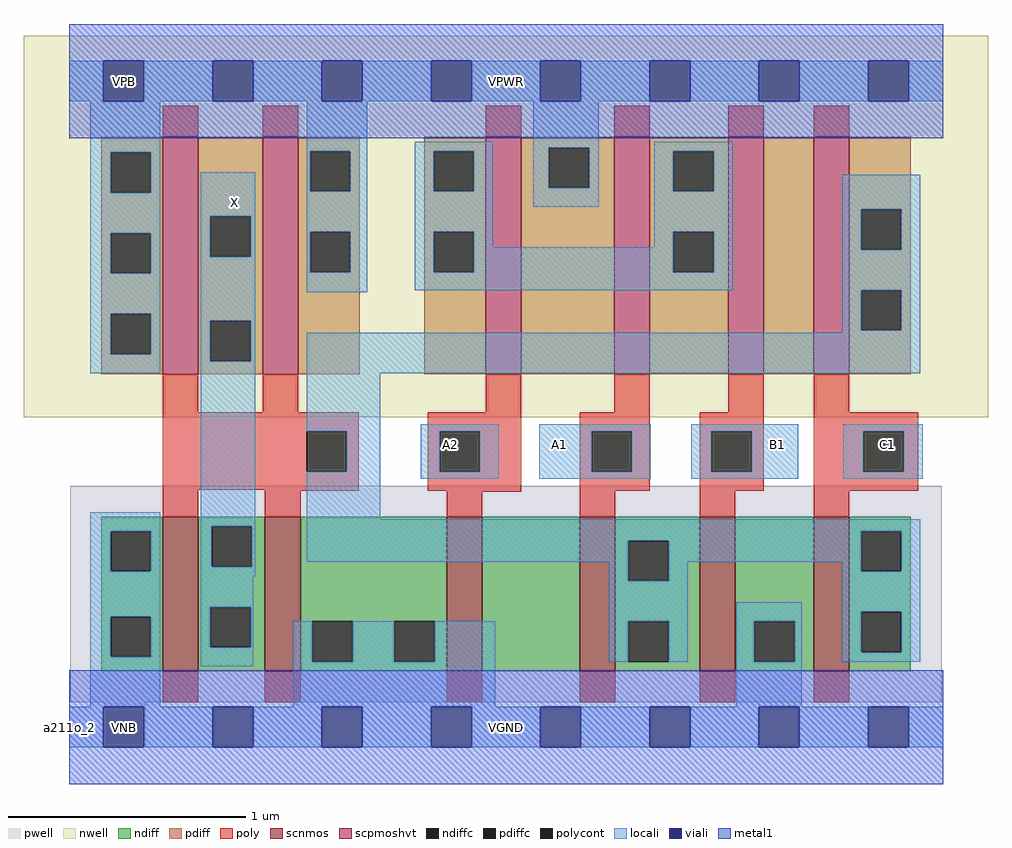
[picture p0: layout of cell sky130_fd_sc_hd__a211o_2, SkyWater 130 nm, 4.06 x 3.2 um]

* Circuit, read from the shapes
.subckt sky130_fd_sc_hd__a211o_2 A1 A2 B1 C1 VGND VNB VPB VPWR X
XM1 X n1 VGND VNB sky130_fd_pr__nfet_01v8 w=0.65 l=0.15 m=2
XM2 n2 A2 VGND VNB sky130_fd_pr__nfet_01v8 w=0.65 l=0.15
XM3 n1 A1 n2 VNB sky130_fd_pr__nfet_01v8 w=0.65 l=0.15
XM4 VGND B1 n1 VNB sky130_fd_pr__nfet_01v8 w=0.65 l=0.15
XM5 n1 C1 VGND VNB sky130_fd_pr__nfet_01v8 w=0.65 l=0.15
XM6 X n1 VPWR VPB sky130_fd_pr__pfet_01v8_hvt w=1 l=0.15 m=2
XM7 VPWR A2 n3 VPB sky130_fd_pr__pfet_01v8_hvt w=1 l=0.15
XM8 n3 A1 VPWR VPB sky130_fd_pr__pfet_01v8_hvt w=1 l=0.15
XM9 n4 B1 n3 VPB sky130_fd_pr__pfet_01v8_hvt w=1 l=0.15
XM10 n1 C1 n4 VPB sky130_fd_pr__pfet_01v8_hvt w=1 l=0.15
.ends

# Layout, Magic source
magic
tech sky130B
magscale 1 2
<< nwell >>
rect -38 261 774 582
<< pwell >>
rect 1 21 735 203
rect 30 -17 64 21
<< scnmos >>
rect 79 47 109 177
rect 165 47 195 177
rect 318 47 348 177
rect 430 47 460 177
rect 531 47 561 177
rect 627 47 657 177
<< scpmoshvt >>
rect 79 297 109 497
rect 163 297 193 497
rect 351 297 381 497
rect 459 297 489 497
rect 555 297 585 497
rect 627 297 657 497
<< ndiff >>
rect 27 165 79 177
rect 27 131 35 165
rect 69 131 79 165
rect 27 93 79 131
rect 27 59 35 93
rect 69 59 79 93
rect 27 47 79 59
rect 109 169 165 177
rect 109 135 120 169
rect 154 135 165 169
rect 109 101 165 135
rect 109 67 119 101
rect 153 67 165 101
rect 109 47 165 67
rect 195 89 318 177
rect 195 55 205 89
rect 239 55 274 89
rect 308 55 318 89
rect 195 47 318 55
rect 348 47 430 177
rect 460 157 531 177
rect 460 123 471 157
rect 505 123 531 157
rect 460 89 531 123
rect 460 55 471 89
rect 505 55 531 89
rect 460 47 531 55
rect 561 89 627 177
rect 561 55 577 89
rect 611 55 627 89
rect 561 47 627 55
rect 657 165 709 177
rect 657 131 667 165
rect 701 131 709 165
rect 657 97 709 131
rect 657 63 667 97
rect 701 63 709 97
rect 657 47 709 63
<< pdiff >>
rect 27 484 79 497
rect 27 450 35 484
rect 69 450 79 484
rect 27 416 79 450
rect 27 382 35 416
rect 69 382 79 416
rect 27 348 79 382
rect 27 314 35 348
rect 69 314 79 348
rect 27 297 79 314
rect 109 430 163 497
rect 109 396 119 430
rect 153 396 163 430
rect 109 342 163 396
rect 109 308 119 342
rect 153 308 163 342
rect 109 297 163 308
rect 193 485 245 497
rect 193 451 203 485
rect 237 451 245 485
rect 193 417 245 451
rect 193 383 203 417
rect 237 383 245 417
rect 193 297 245 383
rect 299 485 351 497
rect 299 451 307 485
rect 341 451 351 485
rect 299 417 351 451
rect 299 383 307 417
rect 341 383 351 417
rect 299 297 351 383
rect 381 488 459 497
rect 381 454 404 488
rect 438 454 459 488
rect 381 297 459 454
rect 489 485 555 497
rect 489 451 509 485
rect 543 451 555 485
rect 489 417 555 451
rect 489 383 509 417
rect 543 383 555 417
rect 489 297 555 383
rect 585 297 627 497
rect 657 436 709 497
rect 657 402 667 436
rect 701 402 709 436
rect 657 368 709 402
rect 657 334 667 368
rect 701 334 709 368
rect 657 297 709 334
<< ndiffc >>
rect 35 131 69 165
rect 35 59 69 93
rect 120 135 154 169
rect 119 67 153 101
rect 205 55 239 89
rect 274 55 308 89
rect 471 123 505 157
rect 471 55 505 89
rect 577 55 611 89
rect 667 131 701 165
rect 667 63 701 97
<< pdiffc >>
rect 35 450 69 484
rect 35 382 69 416
rect 35 314 69 348
rect 119 396 153 430
rect 119 308 153 342
rect 203 451 237 485
rect 203 383 237 417
rect 307 451 341 485
rect 307 383 341 417
rect 404 454 438 488
rect 509 451 543 485
rect 509 383 543 417
rect 667 402 701 436
rect 667 334 701 368
<< poly >>
rect 79 497 109 523
rect 163 497 193 523
rect 351 497 381 523
rect 459 497 489 523
rect 555 497 585 523
rect 627 497 657 523
rect 79 265 109 297
rect 163 265 193 297
rect 351 265 381 297
rect 459 265 489 297
rect 555 265 585 297
rect 79 249 244 265
rect 79 215 200 249
rect 234 215 244 249
rect 79 200 244 215
rect 79 177 109 200
rect 165 199 244 200
rect 302 249 381 265
rect 302 215 312 249
rect 346 215 381 249
rect 302 199 381 215
rect 165 177 195 199
rect 318 198 381 199
rect 430 249 489 265
rect 430 215 440 249
rect 474 215 489 249
rect 430 199 489 215
rect 531 249 585 265
rect 531 215 541 249
rect 575 215 585 249
rect 531 199 585 215
rect 627 265 657 297
rect 627 249 715 265
rect 627 215 669 249
rect 703 215 715 249
rect 627 199 715 215
rect 318 177 348 198
rect 430 177 460 199
rect 531 177 561 199
rect 627 177 657 199
rect 79 21 109 47
rect 165 21 195 47
rect 318 21 348 47
rect 430 21 460 47
rect 531 21 561 47
rect 627 21 657 47
<< polycont >>
rect 200 215 234 249
rect 312 215 346 249
rect 440 215 474 249
rect 541 215 575 249
rect 669 215 703 249
<< locali >>
rect 0 527 29 561
rect 63 527 121 561
rect 155 527 213 561
rect 247 527 305 561
rect 339 527 397 561
rect 431 527 489 561
rect 523 527 581 561
rect 615 527 673 561
rect 707 527 736 561
rect 18 484 77 527
rect 18 450 35 484
rect 69 450 77 484
rect 200 485 251 527
rect 18 416 77 450
rect 18 382 35 416
rect 69 382 77 416
rect 18 348 77 382
rect 18 314 35 348
rect 69 314 77 348
rect 18 298 77 314
rect 111 430 157 467
rect 111 396 119 430
rect 153 396 157 430
rect 111 342 157 396
rect 200 451 203 485
rect 237 451 251 485
rect 200 417 251 451
rect 200 383 203 417
rect 237 383 251 417
rect 200 366 251 383
rect 291 485 357 493
rect 291 451 307 485
rect 341 451 357 485
rect 291 417 357 451
rect 391 488 446 527
rect 391 454 404 488
rect 438 454 446 488
rect 391 438 446 454
rect 493 485 559 493
rect 493 451 509 485
rect 543 451 559 485
rect 291 383 307 417
rect 341 404 357 417
rect 493 417 559 451
rect 493 404 509 417
rect 341 383 509 404
rect 543 383 559 417
rect 291 368 559 383
rect 651 436 717 465
rect 651 402 667 436
rect 701 402 717 436
rect 651 368 717 402
rect 111 308 119 342
rect 153 308 157 342
rect 651 334 667 368
rect 701 334 717 368
rect 651 332 717 334
rect 18 165 77 181
rect 18 131 35 165
rect 69 131 77 165
rect 18 93 77 131
rect 18 59 35 93
rect 69 59 77 93
rect 18 17 77 59
rect 111 169 157 308
rect 111 135 120 169
rect 154 135 157 169
rect 200 298 717 332
rect 200 249 262 298
rect 234 215 262 249
rect 200 175 262 215
rect 296 249 362 255
rect 296 215 312 249
rect 346 215 362 249
rect 296 209 362 215
rect 396 249 490 255
rect 396 215 440 249
rect 474 215 490 249
rect 396 209 490 215
rect 524 249 614 255
rect 524 215 541 249
rect 575 215 614 249
rect 524 209 614 215
rect 652 249 719 255
rect 652 215 669 249
rect 703 215 719 249
rect 652 209 719 215
rect 200 165 717 175
rect 200 157 667 165
rect 200 139 471 157
rect 111 127 157 135
rect 111 101 155 127
rect 111 67 119 101
rect 153 67 155 101
rect 455 123 471 139
rect 505 139 667 157
rect 505 123 521 139
rect 455 89 521 123
rect 651 131 667 139
rect 701 131 717 165
rect 111 51 155 67
rect 189 55 205 89
rect 239 55 274 89
rect 308 55 359 89
rect 455 55 471 89
rect 505 55 521 89
rect 562 89 617 105
rect 562 55 577 89
rect 611 55 617 89
rect 651 97 717 131
rect 651 63 667 97
rect 701 63 717 97
rect 651 55 717 63
rect 189 17 359 55
rect 562 17 617 55
rect 0 -17 29 17
rect 63 -17 121 17
rect 155 -17 213 17
rect 247 -17 305 17
rect 339 -17 397 17
rect 431 -17 489 17
rect 523 -17 581 17
rect 615 -17 673 17
rect 707 -17 736 17
<< viali >>
rect 29 527 63 561
rect 121 527 155 561
rect 213 527 247 561
rect 305 527 339 561
rect 397 527 431 561
rect 489 527 523 561
rect 581 527 615 561
rect 673 527 707 561
rect 29 -17 63 17
rect 121 -17 155 17
rect 213 -17 247 17
rect 305 -17 339 17
rect 397 -17 431 17
rect 489 -17 523 17
rect 581 -17 615 17
rect 673 -17 707 17
<< metal1 >>
rect 0 561 736 592
rect 0 527 29 561
rect 63 527 121 561
rect 155 527 213 561
rect 247 527 305 561
rect 339 527 397 561
rect 431 527 489 561
rect 523 527 581 561
rect 615 527 673 561
rect 707 527 736 561
rect 0 496 736 527
rect 0 17 736 48
rect 0 -17 29 17
rect 63 -17 121 17
rect 155 -17 213 17
rect 247 -17 305 17
rect 339 -17 397 17
rect 431 -17 489 17
rect 523 -17 581 17
rect 615 -17 673 17
rect 707 -17 736 17
rect 0 -48 736 -17
<< labels >>
flabel locali s 122 425 156 459 0 FreeSans 400 0 0 0 X
port 9 nsew signal output
flabel locali s 304 221 338 255 0 FreeSans 400 0 0 0 A2
port 2 nsew signal input
flabel locali s 396 221 430 255 0 FreeSans 400 0 0 0 A1
port 1 nsew signal input
flabel locali s 580 221 614 255 0 FreeSans 400 0 0 0 B1
port 3 nsew signal input
flabel locali s 672 221 706 255 0 FreeSans 400 0 0 0 C1
port 4 nsew signal input
flabel pwell s 30 -17 64 17 0 FreeSans 200 0 0 0 VNB
port 6 nsew ground bidirectional
flabel nwell s 30 527 64 561 0 FreeSans 200 0 0 0 VPB
port 7 nsew power bidirectional
flabel metal1 s 30 -17 64 17 0 FreeSans 200 0 0 0 VGND
port 5 nsew ground bidirectional abutment
flabel metal1 s 30 527 64 561 0 FreeSans 200 0 0 0 VPWR
port 8 nsew power bidirectional abutment
rlabel comment s 0 0 0 0 4 a211o_2
rlabel metal1 s 0 -48 736 48 1 VGND
port 5 nsew ground bidirectional abutment
rlabel metal1 s 0 496 736 592 1 VPWR
port 8 nsew power bidirectional abutment
<< properties >>
string FIXED_BBOX 0 0 736 544
string GDS_END 3621522
string GDS_FILE $PDKPATH/libs.ref/sky130_fd_sc_hd/gds/sky130_fd_sc_hd.gds
string GDS_START 3614958
string LEFclass CORE
string LEFsite unithd
string LEFsymmetry X Y R90
string path 0.000 0.000 18.400 0.000 
<< end >>
